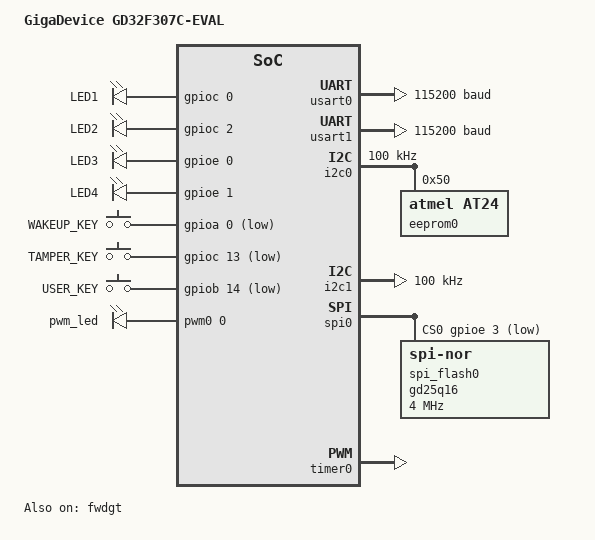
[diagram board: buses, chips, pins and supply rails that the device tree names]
/*
 * Copyright (c) 2026, GigaDevice Semiconductor Inc.
 * SPDX-License-Identifier: Apache-2.0
 */
/dts-v1/;

#include <gd/gd32f30x/gd32f307.dtsi>
#include "gd32f307c_eval-pinctrl.dtsi"
#include <zephyr/dt-bindings/input/input-event-codes.h>
#include <zephyr/dt-bindings/dma/gd32_dma.h>
#include <zephyr/dt-bindings/i2c/i2c.h>

/ {
	model = "GigaDevice GD32F307C-EVAL";
	compatible = "gd,gd32f307c-eval";

	chosen {
		zephyr,sram = &sram0;
		zephyr,flash = &flash0;
		zephyr,console = &usart0;
		zephyr,shell-uart = &usart0;
		zephyr,flash-controller = &fmc;
	};

	leds {
		compatible = "gpio-leds";

		led1: led1 {
			gpios = <&gpioc 0 GPIO_ACTIVE_HIGH>;
			label = "LED1";
		};

		led2: led2 {
			gpios = <&gpioc 2 GPIO_ACTIVE_HIGH>;
			label = "LED2";
		};

		led3: led3 {
			gpios = <&gpioe 0 GPIO_ACTIVE_HIGH>;
			label = "LED3";
		};

		led4: led4 {
			gpios = <&gpioe 1 GPIO_ACTIVE_HIGH>;
			label = "LED4";
		};
	};

	gpio_keys {
		compatible = "gpio-keys";

		wakeup_key: wakeup_key {
			label = "WAKEUP_KEY";
			gpios = <&gpioa 0 GPIO_ACTIVE_LOW>;
			zephyr,code = <INPUT_KEY_WAKEUP>;
		};

		tamper_key: tamper_key {
			label = "TAMPER_KEY";
			gpios = <&gpioc 13 GPIO_ACTIVE_LOW>;
			zephyr,code = <INPUT_KEY_0>;
		};

		user_key: user_key {
			label = "USER_KEY";
			gpios = <&gpiob 14 GPIO_ACTIVE_LOW>;
			zephyr,code = <INPUT_KEY_1>;
		};
	};

	pwmleds {
		compatible = "pwm-leds";

		/* NOTE: bridge TIMER0_CH0 (PA8) and LED1 (PC0) */
		pwm_led: pwm_led {
			pwms = <&pwm0 0 PWM_MSEC(20) PWM_POLARITY_NORMAL>;
		};
	};

	aliases {
		led0 = &led1;
		led1 = &led2;
		sw0 = &wakeup_key;
		sw1 = &user_key;
		pwm-led0 = &pwm_led;
		watchdog0 = &fwdgt;
		eeprom-0 = &eeprom0;
		spi-flash0 = &spi_flash0;
	};
};

/* GD32F307VCT6: 256KB Flash */
&flash0 {
	reg = <0x08000000 DT_SIZE_K(256)>;
};

&gpioa {
	status = "okay";
};

&gpiob {
	status = "okay";
};

&gpioc {
	status = "okay";
};

&gpioe {
	status = "okay";
};

&dma0 {
	status = "okay";
};

&dma1 {
	status = "okay";
};

&usart0 {
	status = "okay";
	current-speed = <115200>;
	pinctrl-0 = <&usart0_default>;
	pinctrl-names = "default";
	dmas = <&dma0 4 (GD32_DMA_PERIPH_RX | GD32_DMA_PRIORITY_HIGH)>,
		   <&dma0 3 (GD32_DMA_PERIPH_TX | GD32_DMA_PRIORITY_HIGH)>;
	dma-names = "rx", "tx";
};

&usart1 {
	status = "okay";
	current-speed = <115200>;
	pinctrl-0 = <&usart1_default>;
	pinctrl-names = "default";
	dmas = <&dma0 5 (GD32_DMA_PERIPH_RX | GD32_DMA_PRIORITY_HIGH)>,
		   <&dma0 6 (GD32_DMA_PERIPH_TX | GD32_DMA_PRIORITY_HIGH)>;
	dma-names = "rx", "tx";
};

&i2c0 {
	status = "okay";
	pinctrl-0 = <&i2c0_default>;
	pinctrl-names = "default";
	clock-frequency = <I2C_BITRATE_STANDARD>;
	dmas = <&dma0 6 (GD32_DMA_PRIORITY_HIGH | GD32_DMA_PERIPH_RX)>,
	       <&dma0 5 (GD32_DMA_PRIORITY_HIGH | GD32_DMA_PERIPH_TX)>;
	dma-names = "rx", "tx";

	eeprom0: eeprom@50 {
		compatible = "atmel,at24";
		reg = <0x50>;
		size = <256>;
		pagesize = <8>;
		address-width = <8>;
		timeout = <10>;
	};
};

&i2c1 {
	status = "okay";
	pinctrl-0 = <&i2c1_default>;
	pinctrl-names = "default";
	clock-frequency = <I2C_BITRATE_STANDARD>;
	dmas = <&dma0 4 (GD32_DMA_PRIORITY_HIGH | GD32_DMA_PERIPH_RX)>,
	       <&dma0 3 (GD32_DMA_PRIORITY_HIGH | GD32_DMA_PERIPH_TX)>;
	dma-names = "rx", "tx";
};

&spi0 {
	status = "okay";
	pinctrl-0 = <&spi0_default>;
	pinctrl-names = "default";
	cs-gpios = <&gpioe 3 GPIO_ACTIVE_LOW>;
	dmas = <&dma0 1 (GD32_DMA_PRIORITY_HIGH | GD32_DMA_PERIPH_RX)>,
	       <&dma0 2 (GD32_DMA_PRIORITY_HIGH | GD32_DMA_PERIPH_TX)>;
	dma-names = "rx", "tx";

	spi_flash0: gd25q16@0 {
		compatible = "jedec,spi-nor";
		size = <0x1000000>;
		reg = <0>;
		spi-max-frequency = <4000000>;
		status = "okay";
		jedec-id = [c8 40 15];
	};
};

&spi1 {
	status = "disabled";
	pinctrl-0 = <&spi1_default>;
	pinctrl-names = "default";
	cs-gpios = <&gpiob 12 GPIO_ACTIVE_LOW>;
	dmas = <&dma0 3 (GD32_DMA_PRIORITY_HIGH | GD32_DMA_PERIPH_RX)>,
	       <&dma0 4 (GD32_DMA_PRIORITY_HIGH | GD32_DMA_PERIPH_TX)>;
	dma-names = "rx", "tx";
};

&spi2 {
	status = "disabled";
	pinctrl-0 = <&spi2_default>;
	pinctrl-names = "default";
	cs-gpios = <&gpioa 4 GPIO_ACTIVE_LOW>;
	dmas = <&dma1 0 (GD32_DMA_PRIORITY_HIGH | GD32_DMA_PERIPH_RX)>,
	       <&dma1 1 (GD32_DMA_PRIORITY_HIGH | GD32_DMA_PERIPH_TX)>;
	dma-names = "rx", "tx";
};

&timer0 {
	status = "okay";
	prescaler = <256>;

	pwm0: pwm {
		status = "okay";
		pinctrl-0 = <&pwm0_default>;
		pinctrl-names = "default";
	};
};

&fwdgt {
	status = "okay";
};
